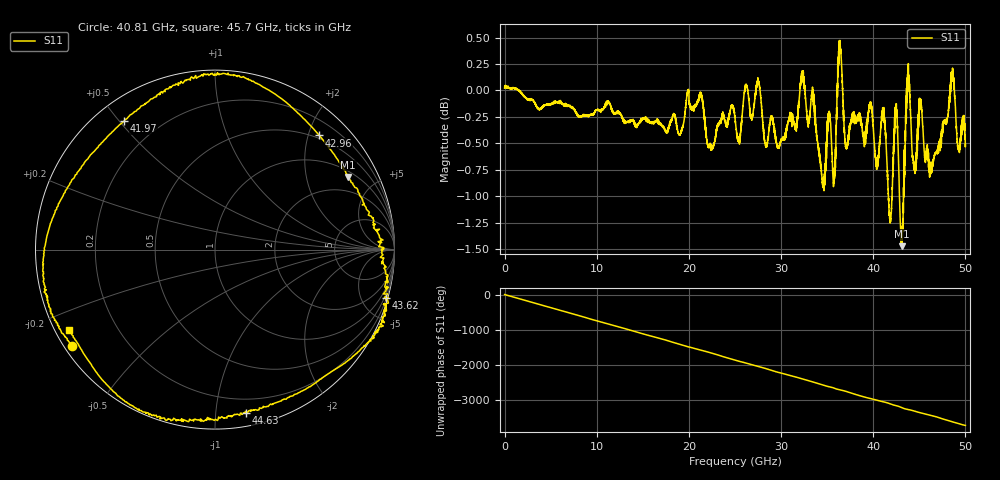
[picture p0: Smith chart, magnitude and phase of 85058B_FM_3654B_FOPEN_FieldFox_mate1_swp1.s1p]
!Created with skrf (http://scikit-rf.org).
# Hz S RI R 50.0
!freq ReS11 ImS11
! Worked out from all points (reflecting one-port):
!   10001 points, 300 kHz to 50 GHz, reference 50 ohm
!   lowest |S11| = -1.5 dB at 43.12 GHz (marker M1), VSWR 11.83, Z = 62.3 + j175 ohm
!   phase of S11 starts at 0 deg and turns -3715 deg over the sweep
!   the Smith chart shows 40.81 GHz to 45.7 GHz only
!   S11 on the Smith chart (normalised r, x): 40.81 GHz: 0.02, -0.30; 41.97 GHz: 0.08, +0.51; 42.96 GHz: 0.44, +2.19; 43.62 GHz: 0.25, -7.15; 44.63 GHz: 0.10, -1.20; 45.7 GHz: 0.04, -0.26
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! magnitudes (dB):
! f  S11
! 300 kHz  0.0
! 6.25 GHz  -0.1
! 12.5 GHz  -0.2
! 18.75 GHz  -0.4
! 25 GHz  -0.3
! 27.49 GHz  0.1
! 28.36 GHz  -0.5
! 31.25 GHz  -0.2
! 32.35 GHz  0.2
! 34.51 GHz  -0.9
! 35.21 GHz  -0.2
! 35.71 GHz  -0.9
! 36.4 GHz  0.4
! 37.01 GHz  -0.5
! 37.5 GHz  -0.3
! 40.81 GHz  -0.4
! 41.97 GHz  -1.1
! 42.47 GHz  -0.2
! 42.96 GHz  -1.3
! 43.12 GHz  -1.5
! 43.62 GHz  -0.1
! 43.75 GHz  0.1
! 44.63 GHz  -0.7
! 45.13 GHz  -0.1
! 45.7 GHz  -0.7
! 48.56 GHz  0.1
! 49.23 GHz  -0.5
! 50 GHz  -0.5
